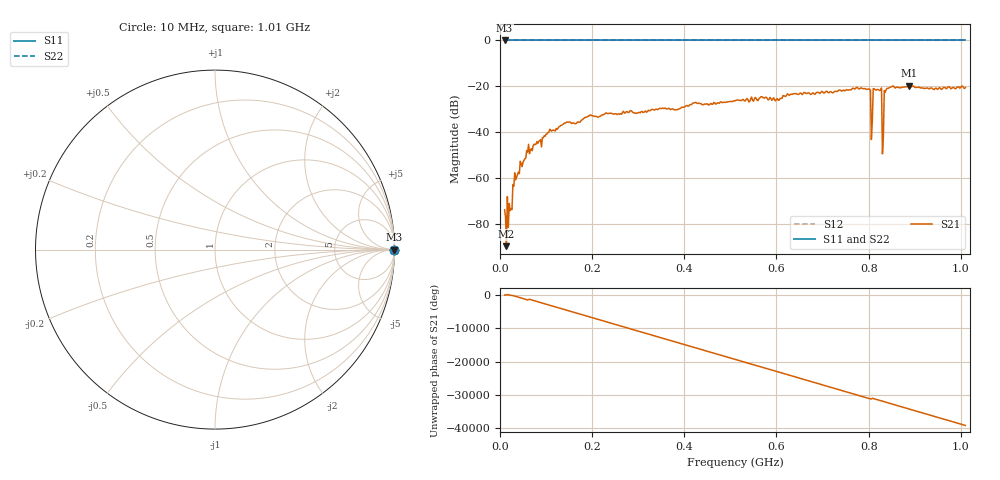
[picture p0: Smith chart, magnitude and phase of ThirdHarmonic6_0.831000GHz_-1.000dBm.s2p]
! 8/16/2025 3:35:34 AM
! C:\ANRITSUVNA\TEMP\TEMP.S2P
! CHANNEL.1
! TR.MEASUREMENT
! RAW.DATA
! RF.CORRECTION.OFF
! AVERAGING.OFF
! IF.BANDWIDTH: 5KHZ
! SWEEPTYPE:  FREQ.SWEEP(Linear)
! Reference Plane Port Info
! PORT:  PORT1  PORT2
! DISTANCE:  0  m  0  m
! TIME:  0  s  0  s
! PHASE.OFFSET:  0  deg.  0  deg.
! LOSS:  0  dB  0  dB
! REF.LOSS:  0  dB  0  dB
! REF.FREQ:  0  Hz  0  Hz
! Power Info
! POWER:  -20  dBm  -20  dBm
! EFF.POWER:  -20  dBm  -20  dBm
! SOURCE.ATTEN:  0  dB  0  dB
! TEST.ATTEN:  0  dB  0  dB
# GHZ S RI R 50.0
! FREQ.GHZ  S11RE  S11IM  S21RE  S21IM  S12RE  S12IM  S22RE  S22IM
!; PortSelection: Port_12
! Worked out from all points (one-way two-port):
!   501 points, 10 MHz to 1.01 GHz, reference 50 ohm
!   highest |S21| = -19.65 dB at 888 MHz (marker M1); lowest = -89.5 dB at 14 MHz (marker M2)
!   lowest |S11| = 0.0 dB at 10 MHz (marker M3)
!   |S11| at or under -10 dB: nowhere
!   |S22| runs from 0.0 to 0.0 dB; largest |S21 - S12| = 1.1
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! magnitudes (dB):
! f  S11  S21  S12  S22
! 10 MHz  0.0  -73.7  0.0  0.0
! 14 MHz  0.0  -89.5  0.0  0.0
! 22 MHz  0.0  -74.0  0.0  0.0
! 32 MHz  0.0  -57.6  0.0  0.0
! 62 MHz  0.0  -45.2  0.0  0.0
! 110 MHz  0.0  -39.1  0.0  0.0
! 178 MHz  0.0  -34.5  0.0  0.0
! 344 MHz  0.0  -29.8  0.0  0.0
! 510 MHz  0.0  -26.3  0.0  0.0
! 678 MHz  0.0  -22.9  0.0  0.0
! 798 MHz  0.0  -21.2  0.0  0.0
! 800 MHz  0.0  -21.2  0.0  0.0
! 804 MHz  0.0  -21.6  0.0  0.0
! 810 MHz  0.0  -21.0  0.0  0.0
! 814 MHz  0.0  -21.3  0.0  0.0
! 824 MHz  0.0  -21.8  0.0  0.0
! 828 MHz  0.0  -20.7  0.0  0.0
! 834 MHz  0.0  -21.8  0.0  0.0
! 838 MHz  0.0  -21.4  0.0  0.0
! 844 MHz  0.0  -20.6  0.0  0.0
! 888 MHz  0.0  -19.7  0.0  0.0
! 1.01 GHz  0.0  -20.6  0.0  0.0
